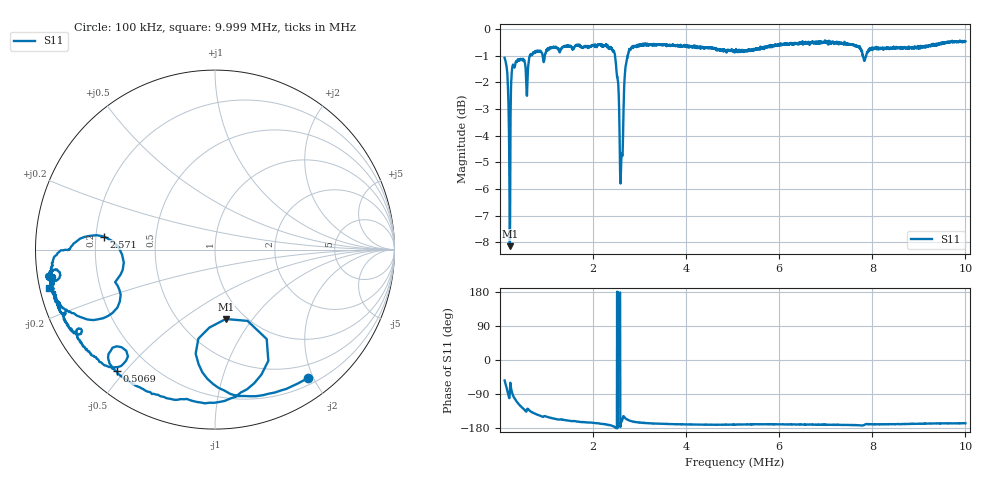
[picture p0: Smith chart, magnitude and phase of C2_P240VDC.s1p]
# HZ S RI R 50
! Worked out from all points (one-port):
!   2020 points, 100 kHz to 9.999 MHz, reference 50 ohm
!   lowest |S11| = -8.1 dB at 212.8 kHz (marker M1), VSWR 2.29, Z = 41 - j37.4 ohm
!   |S11| at or under -10 dB: nowhere
!   S11 on the Smith chart (normalised r, x): 100 kHz: 0.30, -1.93; 506.9 kHz: 0.08, -0.47; 2.571 MHz: 0.23, +0.06; 9.999 MHz: 0.03, -0.11
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100000  0.519 -0.7152
139224  0.268 -0.8109
163739  0.0862 -0.8045
212769  0.0598 -0.3867
261799  0.0536 -0.8431
305926  -0.1471 -0.8356
394180  -0.3731 -0.7918
506949  -0.548 -0.6777
609912  -0.5528 -0.6551
845256  -0.7542 -0.5041
1340459  -0.8534 -0.3576
2139648  -0.9151 -0.199
2419119  -0.9105 -0.0932
2507373  -0.8266 -0.00132
2571112  -0.6181 0.0726
2576015  -0.5763 0.05
2620142  -0.5519 -0.1878
2649560  -0.5707 -0.3525
2693687  -0.7561 -0.3734
2752523  -0.8322 -0.3397
2875098  -0.8898 -0.2724
3816474  -0.9195 -0.1686
5052030  -0.8996 -0.1479
6287586  -0.9226 -0.1584
7528045  -0.9258 -0.138
7841837  -0.8649 -0.1487
8763601  -0.9034 -0.1833
9999157  -0.9248 -0.2116
